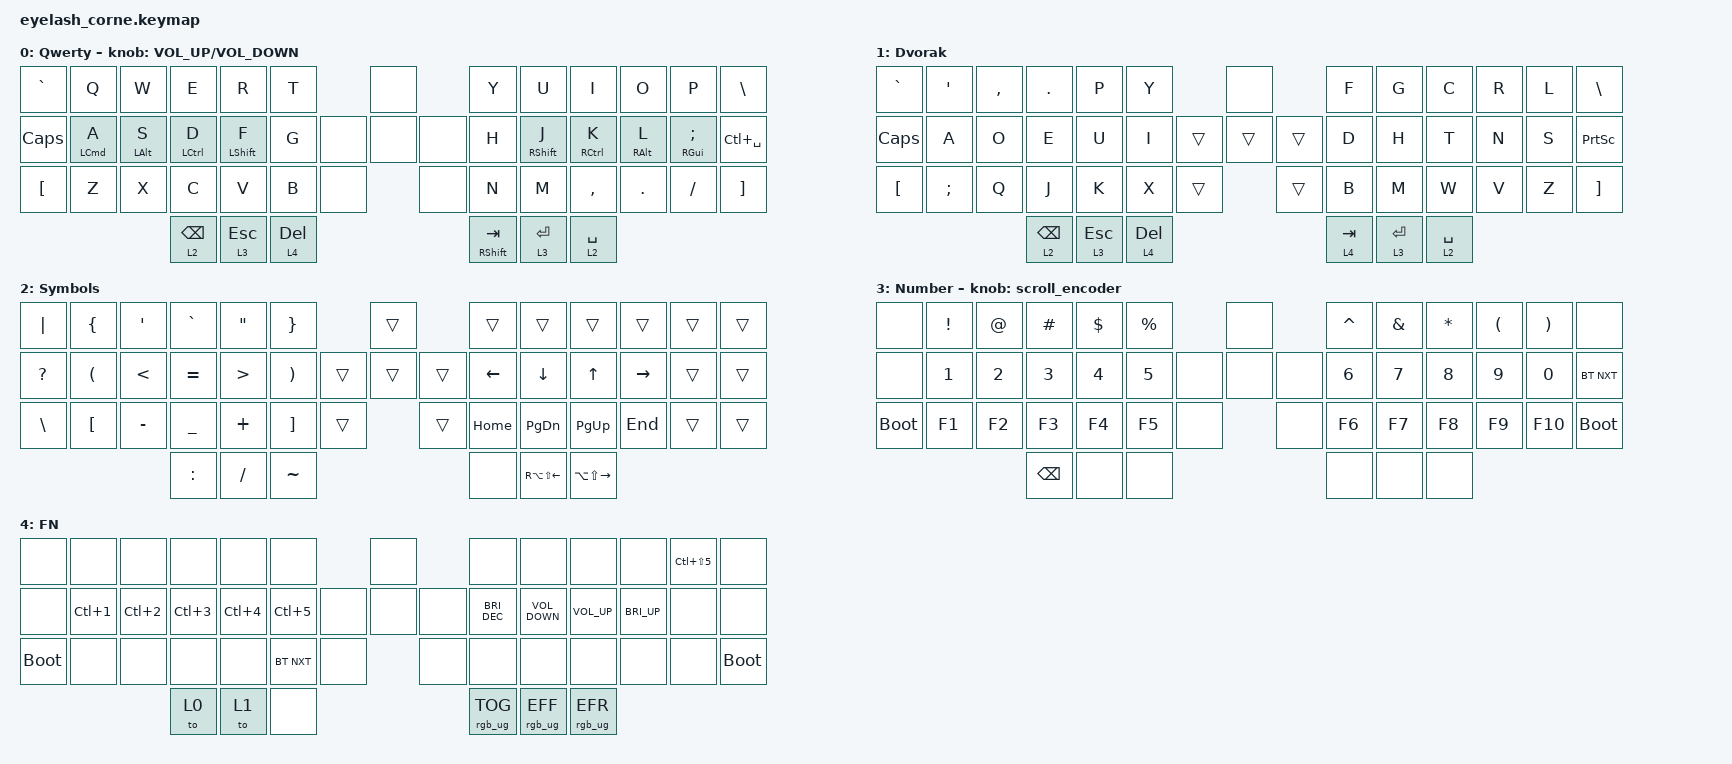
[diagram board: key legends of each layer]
#define ZMK_POINTING_DEFAULT_MOVE_VAL 1200  // 600
#define ZMK_POINTING_DEFAULT_SCRL_VAL 25   // 10

#include <input/processors.dtsi>
#include <zephyr/dt-bindings/input/input-event-codes.h>
#include <behaviors.dtsi>
#include <dt-bindings/zmk/bt.h>
#include <dt-bindings/zmk/keys.h>
#include <dt-bindings/zmk/pointing.h>
#include <dt-bindings/zmk/rgb.h>

// Layer definitions

#define DEFAULT 0
#define LOWER   1
#define RAISE   2
#define TOP     3

// Home Row Mods configuration

#define DIFFICULTY_LEVEL  0  // 0:custom, 1:easy -> 5:hard

// Set default tapping term (if DIFFICULTY_LEVEL=0)

#ifndef TAPPING_RESOLUTION

#define TAPPING_RESOLUTION 150  // Custom value (150ms)

#endif

// Configure the tapping term based on difficulty level
#ifdef DIFFICULTY_LEVEL
    #if DIFFICULTY_LEVEL > 0 && DIFFICULTY_LEVEL < 6
        #ifndef TAPPING_RESOLUTION

#define TAPPING_RESOLUTION ((6 - DIFFICULTY_LEVEL) * 100)

#endif
    #endif
#endif

// Define holds for bilateral (cross-hand) activation

#define ENFORCE_BILATERAL    // cancels single-handed home row mod+tap

// Set the mod keys for home row (pinky to index: super, alt, ctrl, shift)

#define PINKY_FINGER_MOD LGUI  // Super/GUI
#define RING1_FINGER_MOD LALT  // Alt
#define MIDDY_FINGER_MOD LCTL  // Ctrl
#define INDEX_FINGER_MOD LSFT  // Shift

// Define holding times for each finger

#ifndef HOMEY_HOLDING_TIME

#define HOMEY_HOLDING_TIME (TAPPING_RESOLUTION + 90)

#endif
#ifndef INDEX_HOLDING_TIME

#define INDEX_HOLDING_TIME (TAPPING_RESOLUTION + 20)

#endif
#ifndef MIDDY_HOLDING_TIME

#define MIDDY_HOLDING_TIME (TAPPING_RESOLUTION + 60)

#endif
#ifndef RING1_HOLDING_TIME

#define RING1_HOLDING_TIME (TAPPING_RESOLUTION + 90)

#endif
#ifndef PINKY_HOLDING_TIME

#define PINKY_HOLDING_TIME (TAPPING_RESOLUTION + 110)

#endif

// Define streak decay times
#ifndef HOMEY_STREAK_DECAY

#define HOMEY_STREAK_DECAY TAPPING_RESOLUTION

#endif
#ifndef INDEX_STREAK_DECAY

#define INDEX_STREAK_DECAY (TAPPING_RESOLUTION - 50)

#endif
#ifndef MIDDY_STREAK_DECAY

#define MIDDY_STREAK_DECAY HOMEY_STREAK_DECAY

#endif
#ifndef RING1_STREAK_DECAY

#define RING1_STREAK_DECAY HOMEY_STREAK_DECAY

#endif
#ifndef PINKY_STREAK_DECAY

#define PINKY_STREAK_DECAY HOMEY_STREAK_DECAY

#endif

// Define repeat decay times
#ifndef HOMEY_REPEAT_DECAY

#define HOMEY_REPEAT_DECAY (TAPPING_RESOLUTION + 150)

#endif
#ifndef INDEX_REPEAT_DECAY

#define INDEX_REPEAT_DECAY (TAPPING_RESOLUTION + 150)

#endif
#ifndef MIDDY_REPEAT_DECAY

#define MIDDY_REPEAT_DECAY HOMEY_REPEAT_DECAY

#endif
#ifndef RING1_REPEAT_DECAY

#define RING1_REPEAT_DECAY HOMEY_REPEAT_DECAY

#endif
#ifndef PINKY_REPEAT_DECAY

#define PINKY_REPEAT_DECAY HOMEY_REPEAT_DECAY

#endif

// Define thumb mod timing
#ifndef THUMB_HOLDING_TIME

#define THUMB_HOLDING_TIME INDEX_HOLDING_TIME

#endif
#ifndef THUMB_STREAK_DECAY

#define THUMB_STREAK_DECAY INDEX_STREAK_DECAY

#endif
#ifndef THUMB_REPEAT_DECAY

#define THUMB_REPEAT_DECAY INDEX_REPEAT_DECAY

#endif

// Define key position groups for home row mods

#define LEFT_HAND_KEYS 0 1 2 3 4 5 12 13 14 15 16 17 24 25 26 27 28 29  // left-hand keys
#define RIGHT_HAND_KEYS 6 7 8 9 10 11 18 19 20 21 22 23 30 31 32 33 34 35  // right-hand keys
#define THUMB_KEYS 36 37 38 39 40 41  // thumb keys

&mmv_input_listener { input-processors = <&zip_xy_scaler 2 1>; };

&msc_input_listener { input-processors = <&zip_scroll_scaler 2 1>; };

&msc {
    acceleration-exponent = <1>;      // 0
    time-to-max-speed-ms = <100>;       // 300
    delay-ms = <0>;                   // 0
};

&mmv {
    time-to-max-speed-ms = <500>;
    acceleration-exponent = <1>;
    trigger-period-ms = <16>;
};

/ {
    combos {
        compatible = "zmk,combos";

        completion {
            bindings = <&kp LG(SPACE)>;
            key-positions = <42 47>;
            layers = <0>;
        };

        toggle-console {
            bindings = <&kp F12>;
            key-positions = <45 44>;
            layers = <0>;
        };
    };

    behaviors {
        // Home Row Mods - Left Hand
        // Pinky - LGUI/Super (A key)

        hml_pinky: hml_pinky {
            compatible = "zmk,behavior-hold-tap";
            flavor = "balanced";

            #ifdef ENFORCE_BILATERAL

            hold-trigger-key-positions = <RIGHT_HAND_KEYS THUMB_KEYS>;
            #endif
            hold-trigger-on-release; // wait for other home row mods
            tapping-term-ms = <PINKY_HOLDING_TIME>;
            quick-tap-ms = <PINKY_REPEAT_DECAY>;
            require-prior-idle-ms = <PINKY_STREAK_DECAY>;
            #binding-cells = <2>;
            bindings = <&kp>, <&kp>;
        };

        // Ring - LALT (S key)

        hml_ring: hml_ring {
            compatible = "zmk,behavior-hold-tap";
            flavor = "balanced";

            #ifdef ENFORCE_BILATERAL

            hold-trigger-key-positions = <RIGHT_HAND_KEYS THUMB_KEYS>;
            #endif
            hold-trigger-on-release; // wait for other home row mods
            tapping-term-ms = <RING1_HOLDING_TIME>;
            quick-tap-ms = <RING1_REPEAT_DECAY>;
            require-prior-idle-ms = <RING1_STREAK_DECAY>;
            #binding-cells = <2>;
            bindings = <&kp>, <&kp>;
        };

        // Middle - LCTL (D key)

        hml_middle: hml_middle {
            compatible = "zmk,behavior-hold-tap";
            flavor = "balanced";

            #ifdef ENFORCE_BILATERAL

            hold-trigger-key-positions = <RIGHT_HAND_KEYS THUMB_KEYS>;
            #endif
            hold-trigger-on-release; // wait for other home row mods
            tapping-term-ms = <MIDDY_HOLDING_TIME>;
            quick-tap-ms = <MIDDY_REPEAT_DECAY>;
            require-prior-idle-ms = <MIDDY_STREAK_DECAY>;
            #binding-cells = <2>;
            bindings = <&kp>, <&kp>;
        };

        // Index - LSFT (F key)

        hml_index: hml_index {
            compatible = "zmk,behavior-hold-tap";
            flavor = "tap-preferred";

            #ifdef ENFORCE_BILATERAL

            hold-trigger-key-positions = <RIGHT_HAND_KEYS THUMB_KEYS>;
            #endif
            hold-trigger-on-release; // wait for other home row mods
            tapping-term-ms = <INDEX_HOLDING_TIME>;
            quick-tap-ms = <INDEX_REPEAT_DECAY>;
            require-prior-idle-ms = <INDEX_STREAK_DECAY>;
            #binding-cells = <2>;
            bindings = <&kp>, <&kp>;
        };

        // Home Row Mods - Right Hand
        // Index - RSFT (J key)

        hmr_index: hmr_index {
            compatible = "zmk,behavior-hold-tap";
            flavor = "tap-preferred";

            #ifdef ENFORCE_BILATERAL

            hold-trigger-key-positions = <LEFT_HAND_KEYS THUMB_KEYS>;
            #endif
            hold-trigger-on-release; // wait for other home row mods
            tapping-term-ms = <INDEX_HOLDING_TIME>;
            quick-tap-ms = <INDEX_REPEAT_DECAY>;
            require-prior-idle-ms = <INDEX_STREAK_DECAY>;
            #binding-cells = <2>;
            bindings = <&kp>, <&kp>;
        };

        // Middle - RCTL (K key)

        hmr_middle: hmr_middle {
            compatible = "zmk,behavior-hold-tap";
            flavor = "balanced";

            #ifdef ENFORCE_BILATERAL

            hold-trigger-key-positions = <LEFT_HAND_KEYS THUMB_KEYS>;
            #endif
            hold-trigger-on-release; // wait for other home row mods
            tapping-term-ms = <MIDDY_HOLDING_TIME>;
            quick-tap-ms = <MIDDY_REPEAT_DECAY>;
            require-prior-idle-ms = <MIDDY_STREAK_DECAY>;
            #binding-cells = <2>;
            bindings = <&kp>, <&kp>;
        };

        // Ring - RALT (L key)

        hmr_ring: hmr_ring {
            compatible = "zmk,behavior-hold-tap";
            flavor = "balanced";

            #ifdef ENFORCE_BILATERAL

            hold-trigger-key-positions = <LEFT_HAND_KEYS THUMB_KEYS>;
            #endif
            hold-trigger-on-release; // wait for other home row mods
            tapping-term-ms = <RING1_HOLDING_TIME>;
            quick-tap-ms = <RING1_REPEAT_DECAY>;
            require-prior-idle-ms = <RING1_STREAK_DECAY>;
            #binding-cells = <2>;
            bindings = <&kp>, <&kp>;
        };

        // Pinky - RGUI/Super (;/: key)

        hmr_pinky: hmr_pinky {
            compatible = "zmk,behavior-hold-tap";
            flavor = "balanced";

            #ifdef ENFORCE_BILATERAL

            hold-trigger-key-positions = <LEFT_HAND_KEYS THUMB_KEYS>;
            #endif
            hold-trigger-on-release; // wait for other home row mods
            tapping-term-ms = <PINKY_HOLDING_TIME>;
            quick-tap-ms = <PINKY_REPEAT_DECAY>;
            require-prior-idle-ms = <PINKY_STREAK_DECAY>;
            #binding-cells = <2>;
            bindings = <&kp>, <&kp>;
        };

        // Thumb Layer-Tap

        tm: thumb_layer_tap {
            compatible = "zmk,behavior-hold-tap";
            flavor = "tap-preferred";
            tapping-term-ms = <THUMB_HOLDING_TIME>;
            quick-tap-ms = <THUMB_REPEAT_DECAY>;
            require-prior-idle-ms = <THUMB_STREAK_DECAY>;
            #binding-cells = <2>;
            bindings = <&mo>, <&kp>;
        };

        td0: td0 {
            compatible = "zmk,behavior-tap-dance";
            display-name = "Shift/Caps Lock Tap Dance";
            #binding-cells = <0>;
            bindings = <&kp LEFT_SHIFT>, <&kp CAPS>;
        };
    };

    rgb_encoder: rgb_encoder {
        compatible = "zmk,behavior-sensor-rotate";
        #sensor-binding-cells = <0>;
        bindings = <&rgb_ug RGB_BRI>, <&rgb_ug RGB_BRD>;
    };

    scroll_encoder: scroll_encoder {
        compatible = "zmk,behavior-sensor-rotate";
        #sensor-binding-cells = <0>;
        bindings = <&msc SCRL_DOWN>, <&msc SCRL_UP>;

        tap-ms = <100>;
    };

    macros {
        vim: vim {
            compatible = "zmk,behavior-macro";
            #binding-cells = <0>;
            bindings = <&kp LEFT_BRACKET>;
            label = "VIM";
        };
    };

    keymap {
        compatible = "zmk,keymap";

        Qwerty {
            display-name = "Qwerty";
            bindings = <
&kp GRAVE         &kp Q                      &kp W             &kp E                       &kp R                    &kp T                         &none         &kp Y                &kp U                     &kp I                        &kp O             &kp P                 &kp BACKSLASH
&kp CLCK          &hml_pinky LEFT_COMMAND A  &hml_ring LALT S  &hml_middle LEFT_CONTROL D  &hml_index LEFT_SHIFT F  &kp G                  &none  &none  &none  &kp H                &hmr_index RIGHT_SHIFT J  &hmr_middle RIGHT_CONTROL K  &hmr_ring RALT L  &hmr_pinky RGUI SEMI  &kp LC(SPACE)
&kp LEFT_BRACKET  &kp Z                      &kp X             &kp C                       &kp V                    &kp B         &none           &none         &kp N                &kp M                     &kp COMMA                    &kp DOT           &kp FSLH              &kp RIGHT_BRACKET
                                                               &tm 2 BACKSPACE             &tm 3 ESCAPE             &tm 4 DELETE                                &mt RIGHT_SHIFT TAB  &tm 3 ENTER               &tm 2 SPACE
            >;

            sensor-bindings = <&inc_dec_kp C_VOLUME_UP C_VOLUME_DOWN>;
        };

        Dvorak {
            bindings = <
&kp GRAVE         &kp APOS  &kp COMMA  &kp DOT          &kp P      &kp Y                        &none           &kp F      &kp G        &kp C        &kp R  &kp L  &kp BACKSLASH
&kp CAPS          &kp A     &kp O      &kp E            &kp U      &kp I                &trans  &trans  &trans  &kp D      &kp H        &kp T        &kp N  &kp S  &kp PRINTSCREEN
&kp LEFT_BRACKET  &kp SEMI  &kp Q      &kp J            &kp K      &kp X      &trans            &trans          &kp B      &kp M        &kp W        &kp V  &kp Z  &kp RIGHT_BRACKET
                                       &tm 2 BACKSPACE  &tm 3 ESC  &tm 4 DEL                                    &tm 4 TAB  &tm 3 ENTER  &tm 2 SPACE
            >;

            label = "Dvorak";
        };

        Symbols {
            bindings = <
&kp PIPE       &kp LEFT_BRACE        &kp SQT        &kp GRAVE       &kp DOUBLE_QUOTES  &kp RIGHT_BRACE                          &trans          &trans          &trans                  &trans                   &trans           &trans  &trans
&kp QUESTION   &kp LEFT_PARENTHESIS  &kp LESS_THAN  &kp EQUAL       &kp GREATER_THAN   &kp RIGHT_PARENTHESIS            &trans  &trans  &trans  &kp LEFT_ARROW  &kp DOWN_ARROW          &kp UP_ARROW             &kp RIGHT_ARROW  &trans  &trans
&kp BACKSLASH  &kp LEFT_BRACKET      &kp MINUS      &kp UNDERSCORE  &kp PLUS           &kp RIGHT_BRACKET      &trans            &trans          &kp HOME        &kp PAGE_DOWN           &kp PAGE_UP              &kp END          &trans  &trans
                                                    &kp COLON       &kp SLASH          &kp TILDE                                                &none           &kp RA(LS(LEFT_ARROW))  &kp LA(LS(RIGHT_ARROW))
            >;

            label = "Symbols";
        };

        Number {
            display-name = "Number";
            bindings = <
&none        &kp EXCLAMATION  &kp AT_SIGN  &kp HASH       &kp DOLLAR  &kp PERCENT                  &none         &kp CARET  &kp AMPERSAND  &kp ASTERISK  &kp LEFT_PARENTHESIS  &kp RIGHT_PARENTHESIS  &none
&none        &kp N1           &kp N2       &kp N3         &kp N4      &kp N5                &none  &none  &none  &kp N6     &kp N7         &kp N8        &kp N9                &kp N0                 &bt BT_NXT
&bootloader  &kp F1           &kp F2       &kp F3         &kp F4      &kp F5       &none           &none         &kp F6     &kp F7         &kp F8        &kp F9                &kp F10                &bootloader
                                           &kp BACKSPACE  &none       &none                                      &none      &none          &none
            >;

            sensor-bindings = <&scroll_encoder>;
            label = "Number";
        };

        FN {
            bindings = <
&none        &none             &none       &none       &none       &none                       &none         &none                 &none              &none            &none         &kp LC(LS(N5))  &none
&none        &kp LC(NUMBER_1)  &kp LC(N2)  &kp LC(N3)  &kp LC(N4)  &kp LC(N5)           &none  &none  &none  &kp C_BRIGHTNESS_DEC  &kp C_VOLUME_DOWN  &kp C_VOLUME_UP  &kp C_BRI_UP  &none           &none
&bootloader  &none             &none       &none       &none       &bt BT_NXT  &none           &none         &none                 &none              &none            &none         &none           &bootloader
                                           &to 0       &to 1       &none                                     &rgb_ug RGB_TOG       &rgb_ug RGB_EFF    &rgb_ug RGB_EFR
            >;

            label = "FN";
        };
    };
};
